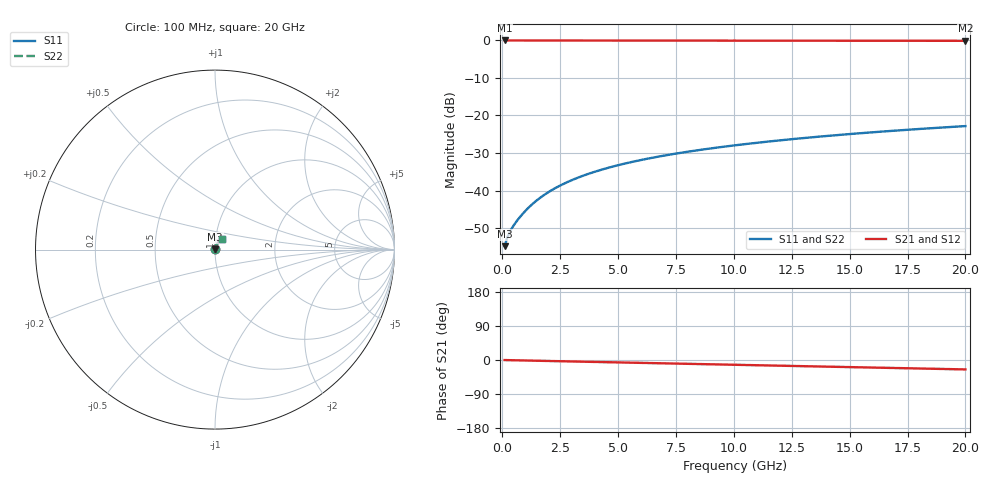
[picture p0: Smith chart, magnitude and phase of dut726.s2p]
! Touchstone file exported from HFSS 2026.1.0
!  File:  C:/ffzhzh/LocalFiles/Ansys_Project_Files/temp_train_BSMRDL_726_1783168465_22436.aedt
!  Generated:  08:35:33 PM Jul  4, 2026
!  Design:  BSMRDL
!  Project:  temp_train_BSMRDL_726_1783168465_22436
! Variables:
!  h_bsmrdl = 4.13um
!  h_ox = 20um
!  h_rdl = 5um
!  h_sub = 80um
!  h_tmrdl = 5um
!  h_tsv = 80um
!  h_via = 3um
!  l_bsmrdl = 424.66um
!  l_sub = 824.66um
!  l_tmrdl = 200um
!  m_sub = 200um
!  pitch = 33.66um
!  r_tsv = 6um
!  s_tmrdl = 10um
!  w_bsmrdl = 26.11um
!  w_sub = 500um
!  w_tmrdl = 12um
!  x_tsv_center1 = 206um
!  x_tsv_center2 = 656.77um
!  x_tsv_center3 = 868.77um
!  x_tsv_center4 = 1319.54um
!  x_tsv_center5 = 1531.54um
!  x_tsv_center6 = 1982.31um
# GHz S MA R 50.000000
! Terminal data exported
! Port[1] = BSM_RDL1_1_T1
! Port[2] = BSM_RDL1_1_T2
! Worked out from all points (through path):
!   200 points, 100 MHz to 20 GHz, reference 50 ohm
!   highest |S21| = -0.01 dB at 100 MHz (marker M1); lowest = -0.1 dB at 20 GHz (marker M2)
!   group delay of S21, straight-line fit = 3.44 ps
!   lowest |S11| = -54.8 dB at 100 MHz (marker M3), VSWR 1.00, Z = 50.2 + j0.0746 ohm
!   |S11| at or under -10 dB: start of sweep to end of sweep
!   |S22| runs from -54.8 to -22.8 dB; largest |S21 - S12| = 2.2e-15
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0.1  0.001819 24.1  0.9983 -0.1  0.9983 -0.1  0.001819 24.1
! Gamma 0 0 0 0
! Port Impedance 50 0 50 0
0.2  0.002296 35.1  0.9981 -0.3  0.9981 -0.3  0.002298 35.2
0.3  0.002723 40.8  0.9979 -0.4  0.9979 -0.4  0.002728 40.9
0.4  0.003102 45.2  0.9978 -0.5  0.9978 -0.5  0.00311 45.2
0.5  0.003467 48.9  0.9977 -0.7  0.9977 -0.7  0.003475 48.8
0.7  0.004207 55.0  0.9976 -0.9  0.9976 -0.9  0.004213 54.9
0.9  0.004984 59.5  0.9975 -1.2  0.9975 -1.2  0.004987 59.4
1.3  0.006618 65.2  0.9973 -1.7  0.9973 -1.7  0.006615 65.1
1.5  0.007456 67.0  0.9972 -1.9  0.9972 -1.9  0.007453 66.9
1.8  0.008725 68.9  0.9971 -2.3  0.9971 -2.3  0.00872 68.8
2.3  0.01084 70.7  0.9969 -3.0  0.9969 -3.0  0.01084 70.6
2.9  0.01336 71.6  0.9965 -3.7  0.9965 -3.7  0.01335 71.6
3.5  0.01582 71.9  0.9962 -4.5  0.9962 -4.5  0.01582 71.9
4.2  0.01864 71.8  0.9957 -5.4  0.9957 -5.4  0.01864 71.8
5  0.02178 71.4  0.9952 -6.4  0.9952 -6.4  0.02178 71.4
5.9  0.02522 70.8  0.9946 -7.5  0.9946 -7.5  0.02522 70.7
6.8  0.02856 70.0  0.994 -8.6  0.994 -8.6  0.02856 70.0
8.3  0.03397 68.7  0.993 -10.5  0.993 -10.5  0.03398 68.7
10.1  0.04026 67.0  0.992 -12.7  0.992 -12.7  0.04027 67.0
13.4  0.05137 63.9  0.9903 -16.8  0.9903 -16.8  0.05138 63.8
16.7  0.06204 60.6  0.9886 -20.8  0.9886 -20.8  0.06207 60.5
20  0.07227 57.1  0.9871 -24.9  0.9871 -24.9  0.0723 57.0
